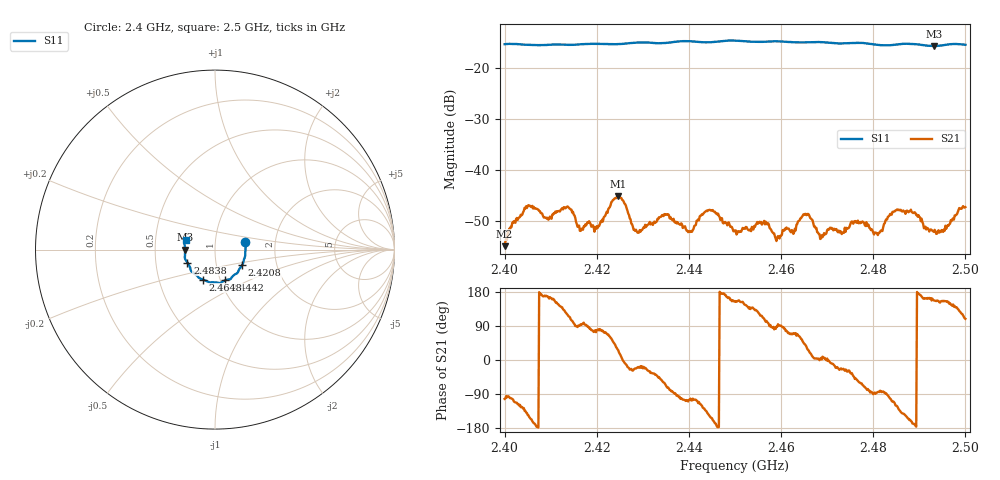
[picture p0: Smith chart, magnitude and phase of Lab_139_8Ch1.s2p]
# Hz S RI R 50
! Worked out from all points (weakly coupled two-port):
!   601 points, 2.4 GHz to 2.5 GHz, reference 50 ohm
!   highest |S21| = -45.13 dB at 2.4247 GHz (marker M1); lowest = -55.0 dB at 2.4 GHz (marker M2)
!   lowest |S11| = -15.6 dB at 2.4932 GHz (marker M3), VSWR 1.40, Z = 35.8 - j0.0866 ohm
!   |S11| at or under -10 dB: start of sweep to end of sweep
!   S12 and S22 are empty: the file has one direction only
!   S11 on the Smith chart (normalised r, x): 2.4 GHz: 1.40, +0.12; 2.4208 GHz: 1.33, -0.24; 2.4442 GHz: 1.05, -0.37; 2.4648 GHz: 0.83, -0.29; 2.4838 GHz: 0.73, -0.11; 2.5 GHz: 0.72, +0.08
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2.4e9  0.168 0.041  -0.000389 -0.00173  0 0  0 0
2.405167e9  0.1703 0.00756  -0.00372 -0.00252  0 0  0 0
2.414e9  0.1627 -0.0504  -0.00174 0.00383  0 0  0 0
2.416667e9  0.1588 -0.0681  -0.000135 0.00263  0 0  0 0
2.420833e9  0.1507 -0.0871  0.000621 0.00303  0 0  0 0
2.424667e9  0.1371 -0.1062  0.005 0.00239  0 0  0 0
2.4285e9  0.128 -0.1257  0.00238 -0.000984  0 0  0 0
2.433333e9  0.1077 -0.1401  0.00227 -0.00235  0 0  0 0
2.440333e9  0.0807 -0.1663  -0.000503 -0.0024  0 0  0 0
2.444167e9  0.0568 -0.1712  -0.00317 -0.00244  0 0  0 0
2.45e9  0.0246 -0.1864  -0.00223 0.00109  0 0  0 0
2.456667e9  -0.0181 -0.1823  -0.000584 0.00303  0 0  0 0
2.459333e9  -0.0322 -0.1817  -0.000169 0.00222  0 0  0 0
2.464833e9  -0.0683 -0.1667  0.00252 0.00263  0 0  0 0
2.466667e9  -0.0801 -0.1627  0.00318 0.000663  0 0  0 0
2.468667e9  -0.0884 -0.1583  0.0021 0.000202  0 0  0 0
2.475667e9  -0.1259 -0.1254  0.00218 -0.00199  0 0  0 0
2.480667e9  -0.1387 -0.0995  0.000145 -0.0024  0 0  0 0
2.483333e9  -0.1505 -0.0762  -0.000375 -0.00347  0 0  0 0
2.483833e9  -0.1532 -0.072  -0.000858 -0.00358  0 0  0 0
2.493167e9  -0.1659 -0.00118  -0.00226 0.000947  0 0  0 0
2.5e9  -0.1624 0.0527  -0.00138 0.00407  0 0  0 0
